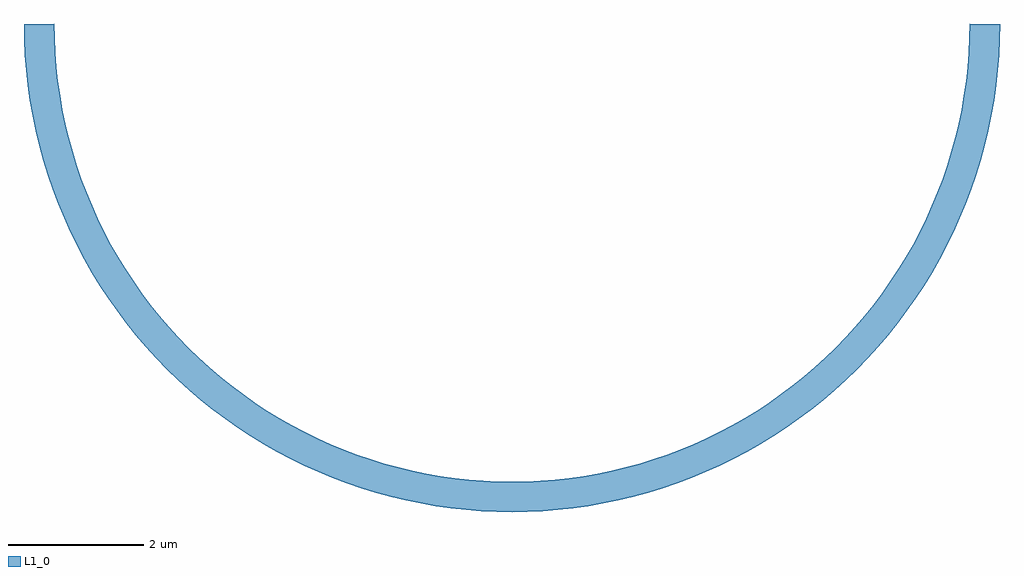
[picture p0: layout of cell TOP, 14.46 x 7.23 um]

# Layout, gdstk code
import gdstk
lib = gdstk.Library(unit=1e-6, precision=1e-09)
L1_0 = (1, 0)

top = lib.new_cell('TOP')
top.add(gdstk.FlexPath([(-7.003,7.003),(-7,6.783),(-6.989,6.563),(-6.972,6.344),(-6.948,6.125),(-6.917,5.908),(-6.879,5.691),(-6.834,5.475),(-6.783,5.262),(-6.725,5.049),(-6.66,4.839),(-6.589,4.631),(-6.511,4.425),(-6.427,4.222),(-6.337,4.021),(-6.24,3.824),(-6.137,3.629),(-6.028,3.438),(-5.913,3.251),(-5.792,3.067),(-5.666,2.887),(-5.534,2.711),(-5.396,2.539),(-5.253,2.372),(-5.105,2.209),(-4.952,2.051),(-4.794,1.898),(-4.631,1.75),(-4.464,1.607),(-4.292,1.47),(-4.116,1.337),(-3.936,1.211),(-3.752,1.09),(-3.565,0.975),(-3.374,0.866),(-3.179,0.763),(-2.982,0.667),(-2.781,0.576),(-2.578,0.492),(-2.372,0.414),(-2.164,0.343),(-1.954,0.278),(-1.742,0.22),(-1.528,0.169),(-1.312,0.124),(-1.096,0.086),(-0.878,0.055),(-0.659,0.031),(-0.44,0.014),(-0.22,0.003),(0,0),(0.22,0.003),(0.44,0.014),(0.659,0.031),(0.878,0.055),(1.096,0.086),(1.312,0.124),(1.528,0.169),(1.742,0.22),(1.954,0.278),(2.164,0.343),(2.372,0.414),(2.578,0.492),(2.781,0.576),(2.982,0.667),(3.179,0.763),(3.374,0.866),(3.565,0.975),(3.752,1.09),(3.936,1.211),(4.116,1.337),(4.292,1.47),(4.464,1.607),(4.631,1.75),(4.794,1.898),(4.952,2.051),(5.105,2.209),(5.253,2.372),(5.396,2.539),(5.534,2.711),(5.666,2.887),(5.792,3.067),(5.913,3.251),(6.028,3.438),(6.137,3.629),(6.24,3.824),(6.337,4.021),(6.427,4.222),(6.511,4.425),(6.589,4.631),(6.66,4.839),(6.725,5.049),(6.783,5.262),(6.834,5.475),(6.879,5.691),(6.917,5.908),(6.948,6.125),(6.972,6.344),(6.989,6.563),(7,6.783),(7.003,7.003)], 0.45, ends="flush", simple_path=True, layer=1, datatype=0))  # L1_0

lib.write_gds('TOP.gds')
